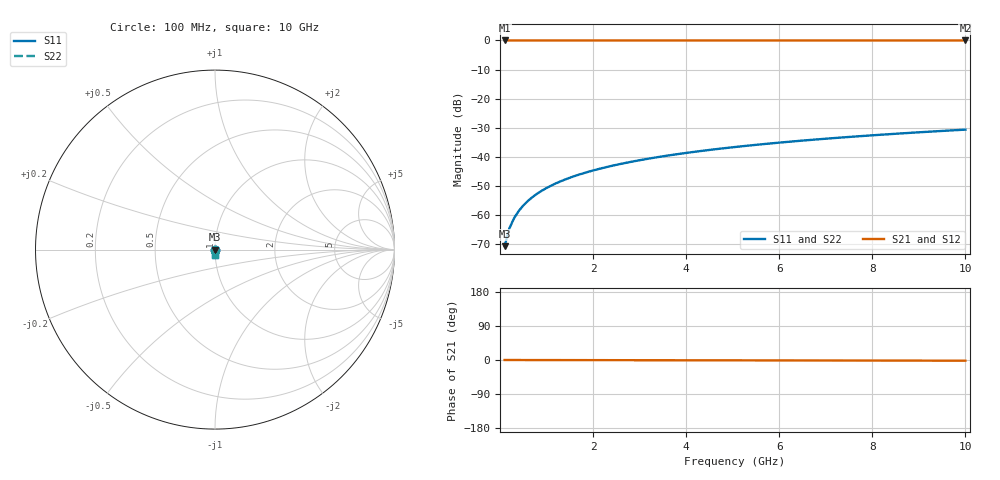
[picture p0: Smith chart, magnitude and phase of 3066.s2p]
# Hz S RI R 50.00
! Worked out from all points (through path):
!   100 points, 100 MHz to 10 GHz, reference 50 ohm
!   highest |S21| = 0.00 dB at 100 MHz (marker M1); lowest = 0.0 dB at 10 GHz (marker M2)
!   lowest |S11| = -70.8 dB at 100 MHz (marker M3), VSWR 1.00, Z = 50 - j0.029 ohm
!   |S11| at or under -10 dB: start of sweep to end of sweep
!   |S22| runs from -70.8 to -30.7 dB; largest |S21 - S12| = 0
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1e8  3.67e-06 -0.00029  1 -0.000316  1 -0.000316  3.67e-06 -0.00029
2e8  3.13e-06 -0.000579  1 -0.000632  1 -0.000632  3.13e-06 -0.000579
3e8  2.39e-06 -0.000869  1 -0.000948  1 -0.000948  2.39e-06 -0.000869
4e8  1.47e-06 -0.00116  1 -0.00126  1 -0.00126  1.47e-06 -0.00116
5e8  3.68e-07 -0.00145  1 -0.00158  1 -0.00158  3.68e-07 -0.00145
6e8  -9.23e-07 -0.00174  1 -0.0019  1 -0.0019  -9.23e-07 -0.00174
7e8  -2.4e-06 -0.00203  1 -0.00221  1 -0.00221  -2.4e-06 -0.00203
8e8  -4.06e-06 -0.00232  1 -0.00253  1 -0.00253  -4.06e-06 -0.00232
9e8  -5.9e-06 -0.00261  1 -0.00285  1 -0.00285  -5.9e-06 -0.00261
1.1e9  -1.01e-05 -0.00319  1 -0.00348  1 -0.00348  -1.01e-05 -0.00319
1.4e9  -1.79e-05 -0.00406  1 -0.00443  1 -0.00443  -1.79e-05 -0.00406
1.8e9  -3.08e-05 -0.00522  1 -0.0057  1 -0.0057  -3.08e-05 -0.00522
2.1e9  -4.24e-05 -0.00609  0.9999 -0.00665  0.9999 -0.00665  -4.24e-05 -0.00609
2.5e9  -6.06e-05 -0.00726  0.9999 -0.00792  0.9999 -0.00792  -6.06e-05 -0.00726
2.9e9  -8.16e-05 -0.00842  0.9999 -0.00919  0.9999 -0.00919  -8.16e-05 -0.00842
3.4e9  -0.000112 -0.00988  0.9999 -0.0108  0.9999 -0.0108  -0.000112 -0.00988
4.2e9  -0.000171 -0.0122  0.9998 -0.0133  0.9998 -0.0133  -0.000171 -0.0122
5.1e9  -0.000251 -0.0148  0.9997 -0.0162  0.9997 -0.0162  -0.000251 -0.0148
5.9e9  -0.000336 -0.0172  0.9997 -0.0188  0.9997 -0.0188  -0.000336 -0.0172
6.7e9  -0.000432 -0.0195  0.9996 -0.0213  0.9996 -0.0213  -0.000432 -0.0195
8.4e9  -0.000678 -0.0245  0.9993 -0.0268  0.9993 -0.0268  -0.000678 -0.0245
1e10  -0.00096 -0.0292  0.999 -0.0319  0.999 -0.0319  -0.00096 -0.0292
